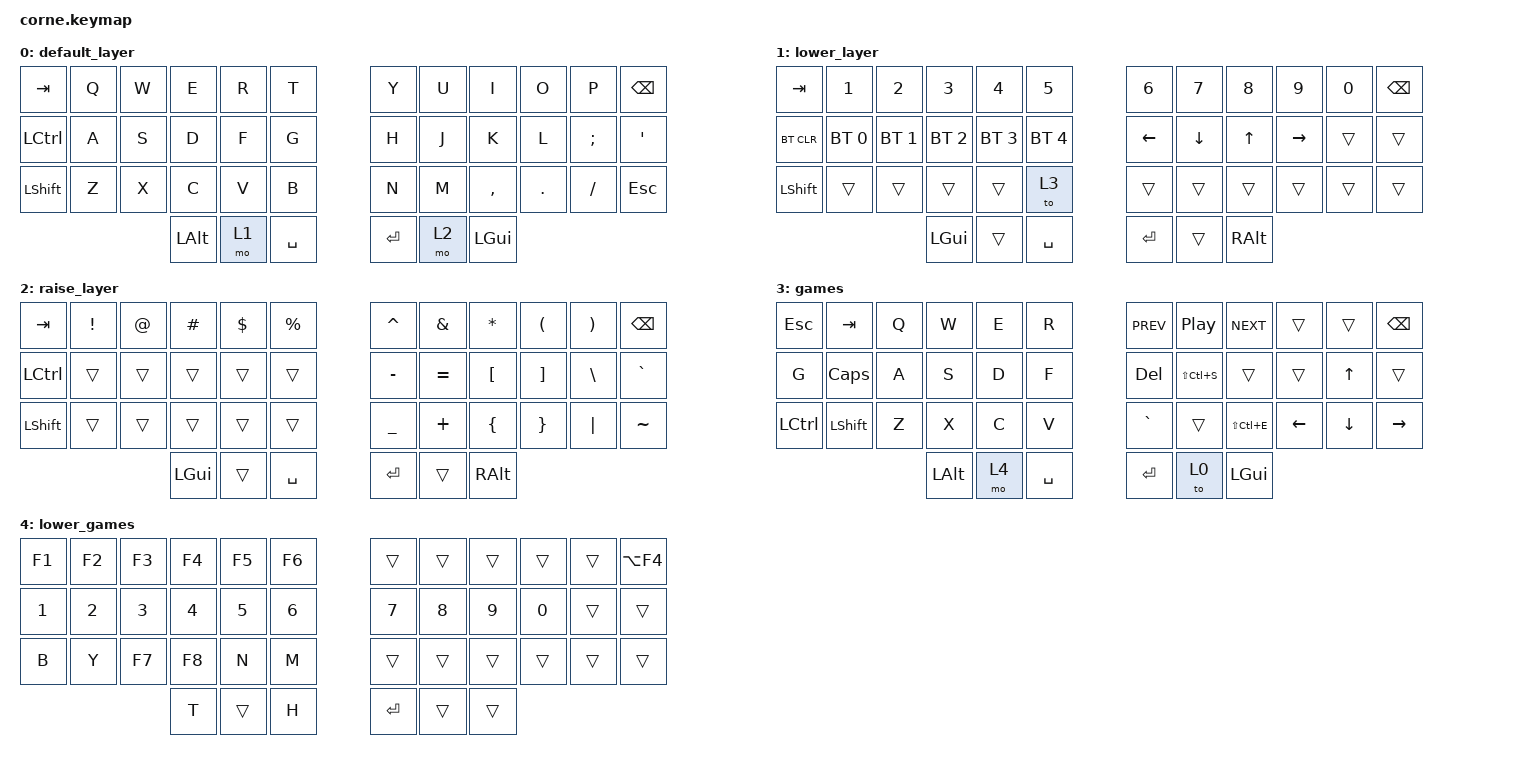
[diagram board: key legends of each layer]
/*
 * Copyright (c) 2020 The ZMK Contributors
 *
 * SPDX-License-Identifier: MIT
 */

#include <behaviors.dtsi>
#include <dt-bindings/zmk/bt.h>
#include <dt-bindings/zmk/keys.h>

/ {
    keymap {
        compatible = "zmk,keymap";

        default_layer {
            // -----------------------------------------------------------------------------------------
            // |  TAB |  Q  |  W  |  E  |  R  |  T  |   |  Y  |  U   |  I  |  O  |  P  | BSPC |
            // | CTRL |  A  |  S  |  D  |  F  |  G  |   |  H  |  J   |  K  |  L  |  ;  |  '   |
            // | SHFT |  Z  |  X  |  C  |  V  |  B  |   |  N  |  M   |  ,  |  .  |  /  | ESC  |
            //                    | GUI | LWR | SPC |   | ENT | RSE  | ALT |

            bindings = <
&kp TAB    &kp Q  &kp W  &kp E         &kp R  &kp T        &kp Y    &kp U  &kp I         &kp O    &kp P     &kp BSPC
&kp LCTRL  &kp A  &kp S  &kp D         &kp F  &kp G        &kp H    &kp J  &kp K         &kp L    &kp SEMI  &kp SQT
&kp LSHFT  &kp Z  &kp X  &kp C         &kp V  &kp B        &kp N    &kp M  &kp COMMA     &kp DOT  &kp FSLH  &kp ESC
                         &kp LEFT_ALT  &mo 1  &kp SPACE    &kp RET  &mo 2  &kp LEFT_GUI
            >;
        };

        lower_layer {
            // -----------------------------------------------------------------------------------------
            // |  TAB |  1  |  2  |  3  |  4  |  5  |   |  6  |  7  |  8  |  9  |  0  | BSPC |
            // | BTCLR| BT1 | BT2 | BT3 | BT4 | BT5 |   | LFT | DWN |  UP | RGT |     |      |
            // | SHFT |     |     |     |     |     |   |     |     |     |     |     |      |
            //                    | GUI |     | SPC |   | ENT |     | ALT |

            bindings = <
&kp TAB     &kp N1        &kp N2        &kp N3        &kp N4        &kp N5          &kp N6    &kp N7    &kp N8    &kp N9     &kp N0  &kp BSPC
&bt BT_CLR  &bt BT_SEL 0  &bt BT_SEL 1  &bt BT_SEL 2  &bt BT_SEL 3  &bt BT_SEL 4    &kp LEFT  &kp DOWN  &kp UP    &kp RIGHT  &trans  &trans
&kp LSHFT   &trans        &trans        &trans        &trans        &to 3           &trans    &trans    &trans    &trans     &trans  &trans
                                        &kp LGUI      &trans        &kp SPACE       &kp RET   &trans    &kp RALT
            >;
        };

        raise_layer {
            // -----------------------------------------------------------------------------------------
            // |  TAB |  !  |  @  |  #  |  $  |  %  |   |  ^  |  &  |  *  |  (  |  )  | BSPC |
            // | CTRL |     |     |     |     |     |   |  -  |  =  |  [  |  ]  |  \  |  `   |
            // | SHFT |     |     |     |     |     |   |  _  |  +  |  {  |  }  | "|" |  ~   |
            //                    | GUI |     | SPC |   | ENT |     | ALT |

            bindings = <
&kp TAB    &kp EXCL  &kp AT  &kp HASH  &kp DLLR  &kp PRCNT    &kp CARET  &kp AMPS   &kp ASTRK  &kp LPAR  &kp RPAR  &kp BSPC
&kp LCTRL  &trans    &trans  &trans    &trans    &trans       &kp MINUS  &kp EQUAL  &kp LBKT   &kp RBKT  &kp BSLH  &kp GRAVE
&kp LSHFT  &trans    &trans  &trans    &trans    &trans       &kp UNDER  &kp PLUS   &kp LBRC   &kp RBRC  &kp PIPE  &kp TILDE
                             &kp LGUI  &trans    &kp SPACE    &kp RET    &trans     &kp RALT
            >;
        };

        games {
            bindings = <
&kp ESC    &kp TAB    &kp Q  &kp W     &kp E  &kp R        &kp C_PREV  &kp C_PLAY_PAUSE  &kp C_NEXT     &trans          &trans          &kp BSPC
&kp G      &kp CAPS   &kp A  &kp S     &kp D  &kp F        &kp DELETE  &kp LS(LC(S))     &trans         &trans          &kp UP_ARROW    &trans
&kp LCTRL  &kp LSHFT  &kp Z  &kp X     &kp C  &kp V        &kp GRAVE   &trans            &kp LS(LC(E))  &kp LEFT_ARROW  &kp DOWN_ARROW  &kp RIGHT_ARROW
                             &kp LALT  &mo 4  &kp SPACE    &kp ENTER   &to 0             &kp LGUI
            >;
        };

        lower_games {
            bindings = <
&kp F1  &kp F2  &kp F3  &kp F4  &kp F5  &kp F6    &trans     &trans  &trans  &trans  &trans  &kp LA(F4)
&kp N1  &kp N2  &kp N3  &kp N4  &kp N5  &kp N6    &kp N7     &kp N8  &kp N9  &kp N0  &trans  &trans
&kp B   &kp Y   &kp F7  &kp F8  &kp N   &kp M     &trans     &trans  &trans  &trans  &trans  &trans
                        &kp T   &trans  &kp H     &kp ENTER  &trans  &trans
            >;
        };
    };
};
